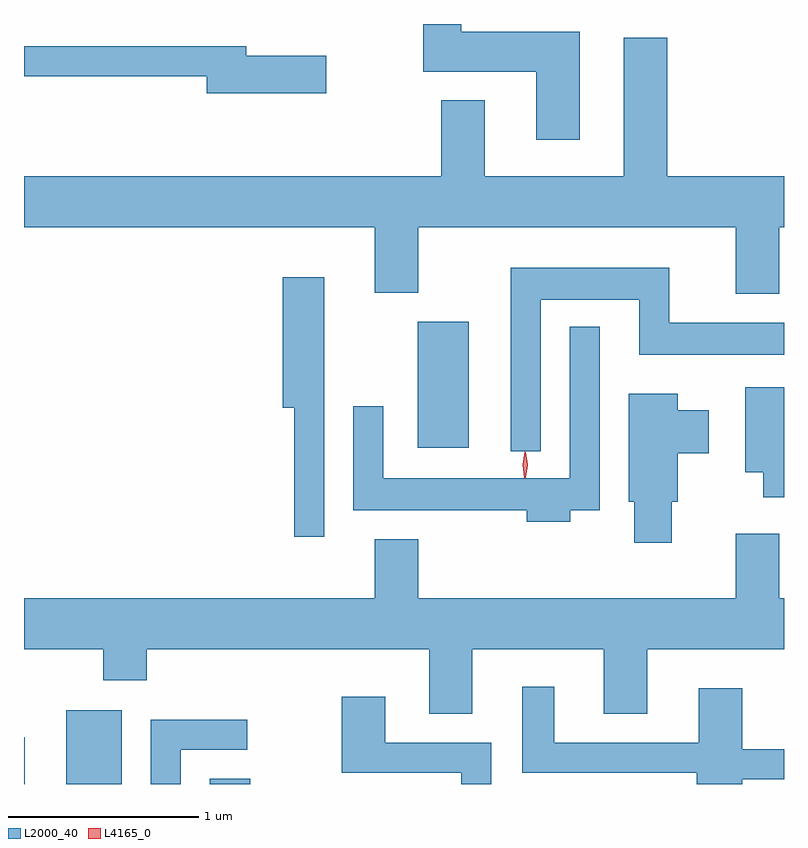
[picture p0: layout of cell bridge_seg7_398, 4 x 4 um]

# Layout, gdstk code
import gdstk
lib = gdstk.Library(unit=1e-6, precision=1e-09)
def R(c, l, rs):  # rectangles x0, y0, x1, y1
    for r in rs: c.add(gdstk.rectangle(r[:2], r[2:], *l))
def P(c, l, *ps):  # polygons
    for p in ps: c.add(gdstk.Polygon(p, *l))
L2000_40 = (2000, 40)
L4165_0 = (4165, 0)

bridge_seg7_398 = lib.new_cell('bridge_seg7_398')
R(bridge_seg7_398, L2000_40, [(1134.864,1675.866,1134.869,1676.113), (1135.086,1675.866,1135.379,1676.254), (1135.841,1675.866,1136.054,1675.894), (1136.936,1677.636,1137.204,1678.299)])
P(bridge_seg7_398, L2000_40, [(1137.789,1679.824),(1137.164,1679.824),(1137.164,1679.866),(1136.966,1679.866),(1136.966,1679.616),(1137.561,1679.616),(1137.561,1679.256),(1137.789,1679.256)],
  [(1137.061,1679.464),(1137.061,1679.064),(1134.864,1679.064),(1134.864,1678.796),(1136.711,1678.796),(1136.711,1678.451),(1136.939,1678.451),(1136.939,1678.796),(1138.611,1678.796),(1138.611,1678.446),(1138.839,1678.446),(1138.839,1678.796),(1138.864,1678.796),(1138.864,1679.064),(1138.249,1679.064),(1138.249,1679.794),(1138.021,1679.794),(1138.021,1679.064),(1137.289,1679.064),(1137.289,1679.464)],
  [(1136.454,1679.699),(1136.034,1679.699),(1136.034,1679.749),(1134.864,1679.749),(1134.864,1679.591),(1135.826,1679.591),(1135.826,1679.501),(1136.454,1679.501)],
  [(1137.584,1678.416),(1138.101,1678.416),(1138.101,1678.126),(1138.864,1678.126),(1138.864,1678.294),(1138.259,1678.294),(1138.259,1678.584),(1137.426,1678.584),(1137.426,1677.618),(1137.584,1677.618)],
  [(1136.444,1678.534),(1136.226,1678.534),(1136.226,1677.846),(1136.286,1677.846),(1136.286,1677.168),(1136.444,1677.168)],
  [(1137.739,1677.306),(1137.894,1677.306),(1137.894,1678.273),(1137.736,1678.273),(1137.736,1677.474),(1136.754,1677.474),(1136.754,1677.853),(1136.596,1677.853),(1136.596,1677.306),(1137.511,1677.306),(1137.511,1677.246),(1137.739,1677.246)],
  [(1138.864,1677.954),(1138.661,1677.954),(1138.661,1677.506),(1138.756,1677.506),(1138.756,1677.376),(1138.864,1677.376)],
  [(1138.274,1677.351),(1138.304,1677.351),(1138.304,1677.606),(1138.469,1677.606),(1138.469,1677.834),(1138.304,1677.834),(1138.304,1677.919),(1138.046,1677.919),(1138.046,1677.351),(1138.076,1677.351),(1138.076,1677.136),(1138.274,1677.136)],
  [(1137.224,1676.576),(1137.916,1676.576),(1137.916,1676.236),(1138.144,1676.236),(1138.144,1676.576),(1138.864,1676.576),(1138.864,1676.844),(1138.839,1676.844),(1138.839,1677.184),(1138.611,1677.184),(1138.611,1676.844),(1136.939,1676.844),(1136.939,1677.154),(1136.711,1677.154),(1136.711,1676.844),(1134.864,1676.844),(1134.864,1676.576),(1135.281,1676.576),(1135.281,1676.411),(1135.509,1676.411),(1135.509,1676.576),(1136.996,1676.576),(1136.996,1676.236),(1137.224,1676.236)],
  [(1138.644,1675.891),(1138.864,1675.891),(1138.864,1676.049),(1138.644,1676.049),(1138.644,1676.369),(1138.416,1676.369),(1138.416,1676.084),(1137.654,1676.084),(1137.654,1676.378),(1137.486,1676.378),(1137.486,1675.926),(1138.406,1675.926),(1138.406,1675.866),(1138.644,1675.866)],
  [(1137.324,1676.084),(1136.764,1676.084),(1136.764,1676.324),(1136.536,1676.324),(1136.536,1675.926),(1137.166,1675.926),(1137.166,1675.866),(1137.324,1675.866)],
  [(1135.689,1676.046),(1136.038,1676.046),(1136.038,1676.204),(1135.531,1676.204),(1135.531,1675.866),(1135.689,1675.866)])
P(bridge_seg7_398, L4165_0, [(1137.498,1677.477),(1137.489,1677.547),(1137.499,1677.616),(1137.5,1677.616),(1137.5,1677.616),(1137.509,1677.547),(1137.499,1677.477),(1137.499,1677.477)],
  [(1137.504,1677.479),(1137.503,1677.48),(1137.494,1677.546),(1137.503,1677.612),(1137.504,1677.613),(1137.504,1677.612),(1137.514,1677.546),(1137.504,1677.48)])

lib.write_gds('bridge_seg7_398.gds')
